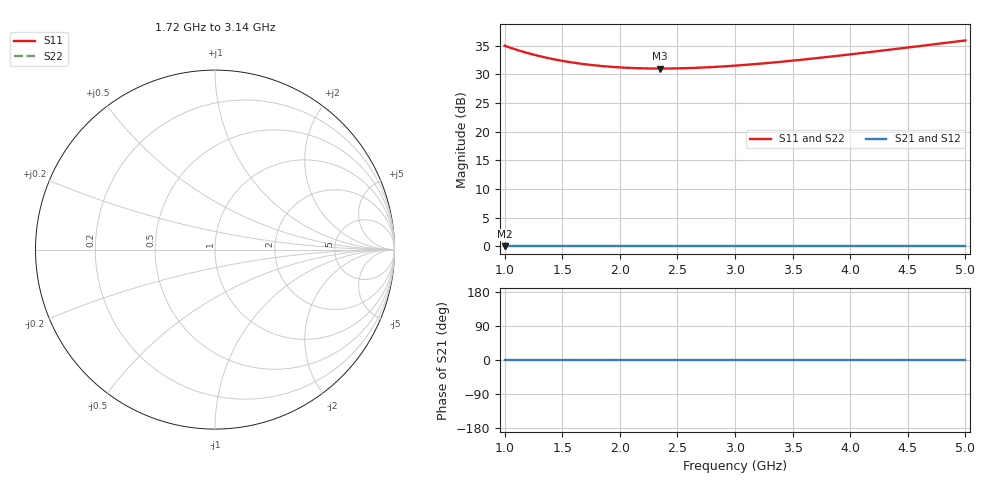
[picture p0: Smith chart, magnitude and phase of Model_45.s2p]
# GHZ S RI R 50
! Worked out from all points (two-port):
!   401 points, 1 GHz to 5 GHz, reference 50 ohm
!   highest |S21| = 0.00 dB at 1 GHz (marker M1); lowest = 0.0 dB at 1 GHz (marker M2)
!   |S21| within 3 dB of the highest: start of sweep to end of sweep
!   lowest |S11| = 31.0 dB at 2.35 GHz (marker M3)
!   |S11| at or under -10 dB: nowhere
!   |S22| runs from 31.0 to 35.9 dB; largest |S21 - S12| = 0
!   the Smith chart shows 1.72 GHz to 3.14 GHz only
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1  56.03 0  1 0  1 0  56.03 0
1.02  55.1 0  1 0  1 0  55.1 0
1.15  49.96 0  1 0  1 0  49.96 0
1.22  47.72 0  1 0  1 0  47.72 0
1.3  45.52 0  1 0  1 0  45.52 0
1.38  43.65 0  1 0  1 0  43.65 0
1.47  41.88 0  1 0  1 0  41.88 0
1.57  40.25 0  1 0  1 0  40.25 0
1.67  38.93 0  1 0  1 0  38.93 0
1.82  37.42 0  1 0  1 0  37.42 0
1.98  36.34 0  1 0  1 0  36.34 0
2.15  35.67 0  1 0  1 0  35.67 0
2.34  35.41 0  1 0  1 0  35.41 0
2.35  35.41 0  1 0  1 0  35.41 0
2.66  35.93 0  1 0  1 0  35.93 0
3  37.53 0  1 0  1 0  37.53 0
3.33  39.96 0  1 0  1 0  39.96 0
3.67  43.22 0  1 0  1 0  43.22 0
4  47.06 0  1 0  1 0  47.06 0
4.34  51.66 0  1 0  1 0  51.66 0
4.64  56.21 0  1 0  1 0  56.21 0
5  62.26 0  1 0  1 0  62.26 0
